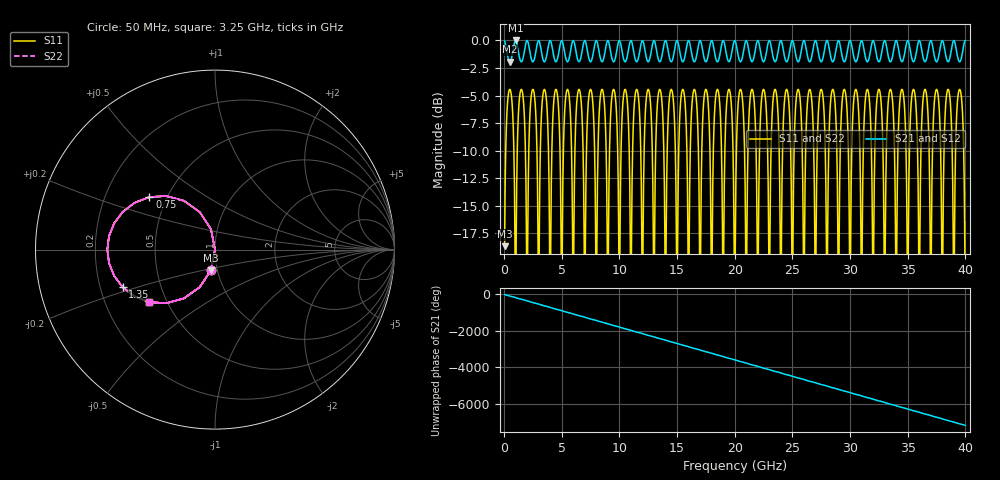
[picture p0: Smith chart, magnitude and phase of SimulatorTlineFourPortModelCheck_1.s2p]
# MHz MA S R 50.0
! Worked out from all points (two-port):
!   800 points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, 50 MHz to 40 GHz, reference 50 ohm
!   highest |S21| = 0.00 dB at 1 GHz (marker M1); lowest = -1.9 dB at 500 MHz (marker M2)
!   |S21| within 3 dB of the highest: start of sweep to end of sweep
!   lowest |S11| = -18.7 dB at 50 MHz (marker M3), VSWR 1.26, Z = 46.6 - j10.8 ohm
!   |S11| at or under -10 dB: 852.7 MHz to 1.147 GHz (294.6 MHz wide, 29.5 % of centre); 1.853 GHz to 2.147 GHz (294.6 MHz wide, 14.7 % of centre); 2.853 GHz to 3.147 GHz (294.6 MHz wide, 9.82 % of centre)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
!   |S22| runs from - to -4.4 dB; largest |S21 - S12| = 0
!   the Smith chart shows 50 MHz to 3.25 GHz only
!   S11 on the Smith chart (normalised r, x): 50 MHz: 0.93, -0.22; 750 MHz: 0.40, +0.30; 1.35 GHz: 0.30, -0.18; 3.25 GHz: 0.40, -0.30
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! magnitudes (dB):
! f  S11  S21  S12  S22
! 50 MHz  -18.7  -0.1  -0.1  -18.7
! 500 MHz  -4.4  -1.9  -1.9  -4.4
! 750 MHz  -6.6  -1.1  -1.1  -6.6
! 1 GHz  -  0.0  0.0  -
! 1.35 GHz  -5.1  -1.6  -1.6  -5.1
! 3.25 GHz  -6.6  -1.1  -1.1  -6.6
! 6.75 GHz  -6.6  -1.1  -1.1  -6.6
! 12 GHz  -  0.0  0.0  -
! 12.5 GHz  -4.4  -1.9  -1.9  -4.4
! 13 GHz  -  0.0  0.0  -
! 13.4 GHz  -4.7  -1.8  -1.8  -4.7
! 20.05 GHz  -18.7  -0.1  -0.1  -18.7
! 20.5 GHz  -4.4  -1.9  -1.9  -4.4
! 21 GHz  -  0.0  0.0  -
! 26.7 GHz  -5.7  -1.4  -1.4  -5.7
! 32 GHz  -  0.0  0.0  -
! 32.55 GHz  -4.5  -1.9  -1.9  -4.5
! 33 GHz  -  0.0  0.0  -
! 33.35 GHz  -5.1  -1.6  -1.6  -5.1
! 39 GHz  -  0.0  0.0  -
! 39.6 GHz  -4.7  -1.8  -1.8  -4.7
! 40 GHz  -  0.0  0.0  -
